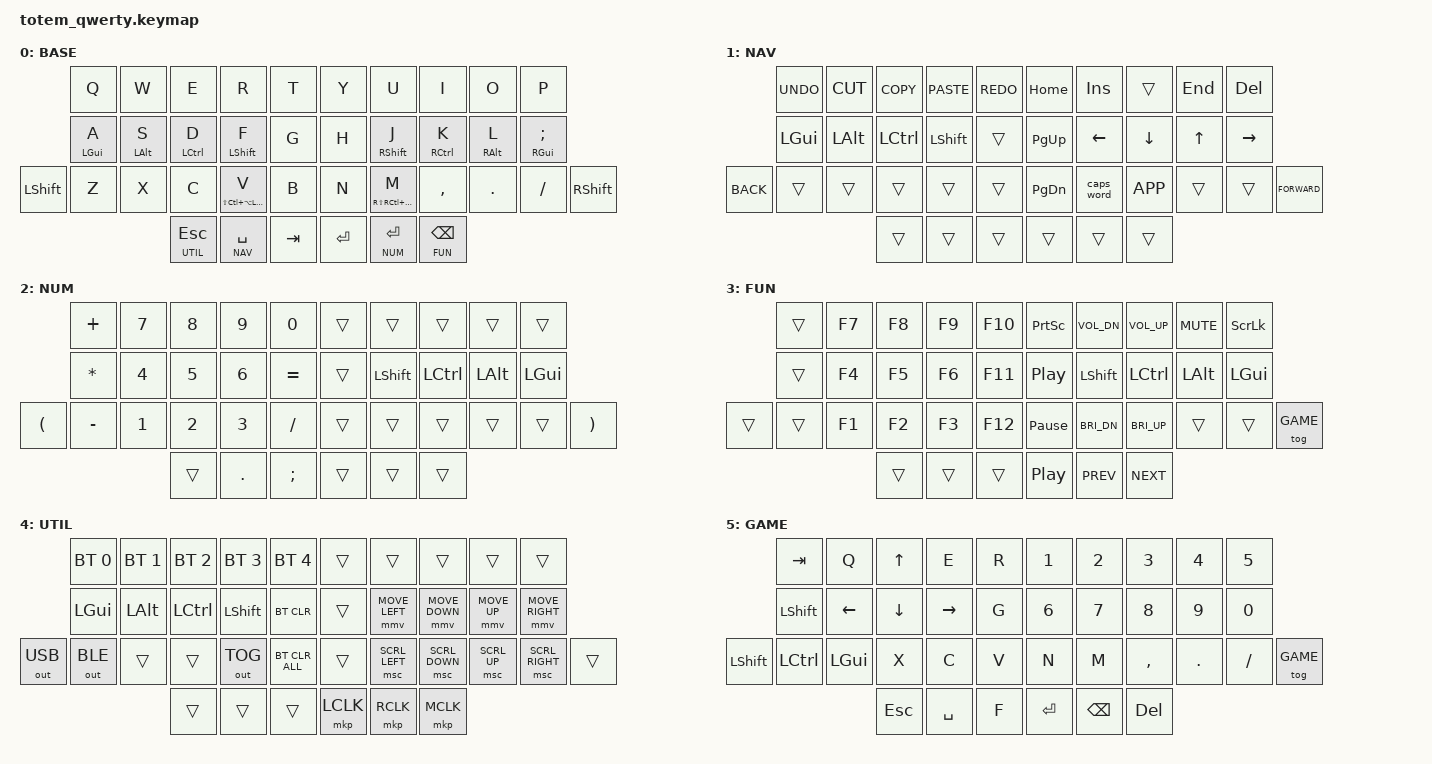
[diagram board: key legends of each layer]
// TOTEM Gallium layout — ported from RMK firmware (keymap.rs + behavior.rs)
// Home row mods (GACS), combos, mod-morphs, macro, mouse keys, caps word
// ── Mouse speed tuning ──────────────────────────────────────────────

#define MOUSE_TIME_TO_MAX_SPEED 800
#define U_MOUSE_MOVE_MAX 3000
#define U_MOUSE_SCROLL_MAX 20

// Must precede pointing.h so the defaults are overridden

#define ZMK_POINTING_DEFAULT_MOVE_VAL U_MOUSE_MOVE_MAX
#define ZMK_POINTING_DEFAULT_SCRL_VAL U_MOUSE_SCROLL_MAX

#include <behaviors.dtsi>
#include <dt-bindings/zmk/bt.h>
#include <dt-bindings/zmk/keys.h>
#include <dt-bindings/zmk/outputs.h>
#include <dt-bindings/zmk/pointing.h>

#define BASE   0
#define NAV    1
#define NUM    2
#define FUN    3
#define UTIL   4
#define GAME   5

// Key position groups for reference:
//          0  1  2  3  4     5  6  7  8  9       <- top
//         10 11 12 13 14    15 16 17 18 19       <- home
//    20   21 22 23 24 25    26 27 28 29 30   31  <- bottom + side
//                   32 33 34    35 36 37          <- thumbs

#define KEYS_L 0 1 2 3 4 10 11 12 13 14 20 21 22 23 24 25
#define KEYS_R 5 6 7 8 9 15 16 17 18 19 26 27 28 29 30 31
#define THUMBS 32 33 34 35 36 37

// Mouse behavior tuning

&mmv { time-to-max-speed-ms = <MOUSE_TIME_TO_MAX_SPEED>; };

&msc { time-to-max-speed-ms = <MOUSE_TIME_TO_MAX_SPEED>; };

/ {
    behaviors {
        // ── Home Row Mods (left hand) ──
        // Positional: hold only triggers on right-hand keys + thumbs

        hml: home_row_mod_left {
            compatible = "zmk,behavior-hold-tap";
            #binding-cells = <2>;
            flavor = "balanced";
            tapping-term-ms = <280>;
            quick-tap-ms = <175>;
            require-prior-idle-ms = <150>;
            bindings = <&kp>, <&kp>;

            hold-trigger-key-positions = <KEYS_R THUMBS>;
            hold-trigger-on-release;
        };

        // ── Home Row Mods (right hand) ──
        // Positional: hold only triggers on left-hand keys + thumbs

        hmr: home_row_mod_right {
            compatible = "zmk,behavior-hold-tap";
            #binding-cells = <2>;
            flavor = "balanced";
            tapping-term-ms = <280>;
            quick-tap-ms = <175>;
            require-prior-idle-ms = <150>;
            bindings = <&kp>, <&kp>;

            hold-trigger-key-positions = <KEYS_L THUMBS>;
            hold-trigger-on-release;
        };

        // ── Thumb Layer-Tap ──
        // Fast activation: hold-preferred, 200ms (RMK HoldOnOtherPress)

        lt_th: layer_tap_thumb {
            compatible = "zmk,behavior-hold-tap";
            #binding-cells = <2>;
            flavor = "balanced";
            tapping-term-ms = <200>;
            quick-tap-ms = <200>;
            bindings = <&mo>, <&kp>;
        };

    };

    // ══════════════════════════════════════════════════════════════
    // Combos — 34 total
    // ══════════════════════════════════════════════════════════════

    combos {
        compatible = "zmk,combos";

        // ── Vertical combos (top + home row) ─────────────────────
        // Less prone to misfires: 80ms timeout, 150ms prior-idle

        combo_play_pause {
            timeout-ms = <80>;
            key-positions = <0 10>;
            bindings = <&kp C_PLAY_PAUSE>;
            require-prior-idle-ms = <150>;
            layers = <BASE>;
        };

        combo_at {
            timeout-ms = <80>;
            key-positions = <1 11>;
            bindings = <&kp AT>;
            require-prior-idle-ms = <150>;
            layers = <BASE>;
        };

        combo_hash {
            timeout-ms = <80>;
            key-positions = <2 12>;
            bindings = <&kp HASH>;
            require-prior-idle-ms = <150>;
            layers = <BASE>;
        };

        combo_dllr {
            timeout-ms = <80>;
            key-positions = <3 13>;
            bindings = <&kp DLLR>;
            require-prior-idle-ms = <150>;
            layers = <BASE>;
        };

        combo_prcnt {
            timeout-ms = <80>;
            key-positions = <4 14>;
            bindings = <&kp PRCNT>;
            require-prior-idle-ms = <150>;
            layers = <BASE>;
        };

        combo_caret {
            timeout-ms = <80>;
            key-positions = <5 15>;
            bindings = <&kp CARET>;
            require-prior-idle-ms = <150>;
            layers = <BASE>;
        };

        combo_plus {
            timeout-ms = <80>;
            key-positions = <6 16>;
            bindings = <&kp PLUS>;
            require-prior-idle-ms = <150>;
            layers = <BASE>;
        };

        combo_star {
            timeout-ms = <80>;
            key-positions = <7 17>;
            bindings = <&kp STAR>;
            require-prior-idle-ms = <150>;
            layers = <BASE>;
        };

        combo_amps {
            timeout-ms = <80>;
            key-positions = <8 18>;
            bindings = <&kp AMPS>;
            require-prior-idle-ms = <150>;
            layers = <BASE>;
        };

        combo_vol_up {
            timeout-ms = <80>;
            key-positions = <9 19>;
            bindings = <&kp C_VOL_UP>;
            require-prior-idle-ms = <150>;
            layers = <BASE>;
        };

        // ── Vertical combos (home + bottom row) ──────────────────

        combo_mute {
            timeout-ms = <80>;
            key-positions = <10 21>;
            bindings = <&kp K_MUTE>;
            require-prior-idle-ms = <150>;
            layers = <BASE>;
        };

        combo_grave {
            timeout-ms = <80>;
            key-positions = <11 22>;
            bindings = <&kp GRAVE>;
            require-prior-idle-ms = <150>;
            layers = <BASE>;
        };

        combo_bslh {
            timeout-ms = <80>;
            key-positions = <12 23>;
            bindings = <&kp BSLH>;
            require-prior-idle-ms = <150>;
            layers = <BASE>;
        };

        combo_equal {
            timeout-ms = <80>;
            key-positions = <13 24>;
            bindings = <&kp EQUAL>;
            require-prior-idle-ms = <150>;
            layers = <BASE>;
        };

        combo_tilde {
            timeout-ms = <80>;
            key-positions = <14 25>;
            bindings = <&kp TILDE>;
            require-prior-idle-ms = <150>;
            layers = <BASE>;
        };

        combo_under {
            timeout-ms = <80>;
            key-positions = <15 26>;
            bindings = <&kp UNDER>;
            require-prior-idle-ms = <150>;
            layers = <BASE>;
        };

        combo_minus {
            timeout-ms = <80>;
            key-positions = <16 27>;
            bindings = <&kp MINUS>;
            require-prior-idle-ms = <150>;
            layers = <BASE>;
        };

        combo_fslh {
            timeout-ms = <80>;
            key-positions = <17 28>;
            bindings = <&kp FSLH>;
            require-prior-idle-ms = <150>;
            layers = <BASE>;
        };

        combo_pipe {
            timeout-ms = <80>;
            key-positions = <18 29>;
            bindings = <&kp PIPE>;
            require-prior-idle-ms = <150>;
            layers = <BASE>;
        };

        combo_vol_dn {
            timeout-ms = <80>;
            key-positions = <19 30>;
            bindings = <&kp C_VOL_DN>;
            require-prior-idle-ms = <150>;
            layers = <BASE>;
        };

        // ── Horizontal combos (same row, adjacent) ───────────────
        // Tight timing to prevent misfires during fast typing:
        // 40ms timeout + 280ms prior-idle
        // Top row

        combo_lbkt {
            timeout-ms = <40>;
            key-positions = <6 7>;
            bindings = <&kp LBKT>;
            require-prior-idle-ms = <280>;
            layers = <BASE>;
        };

        combo_rbkt {
            timeout-ms = <40>;
            key-positions = <7 8>;
            bindings = <&kp RBKT>;
            require-prior-idle-ms = <280>;
            layers = <BASE>;
        };

        // Home row

        combo_lt {
            timeout-ms = <40>;
            key-positions = <15 16>;
            bindings = <&kp LT>;
            require-prior-idle-ms = <280>;
            layers = <BASE>;
        };

        combo_lpar {
            timeout-ms = <40>;
            key-positions = <16 17>;
            bindings = <&kp LPAR>;
            require-prior-idle-ms = <280>;
            layers = <BASE>;
        };

        combo_rpar {
            timeout-ms = <40>;
            key-positions = <17 18>;
            bindings = <&kp RPAR>;
            require-prior-idle-ms = <280>;
            layers = <BASE>;
        };

        combo_gt {
            timeout-ms = <40>;
            key-positions = <18 19>;
            bindings = <&kp GT>;
            require-prior-idle-ms = <280>;
            layers = <BASE>;
        };

        // Bottom row

        combo_copy {
            timeout-ms = <40>;
            key-positions = <22 23>;
            bindings = <&kp LC(C)>;
            require-prior-idle-ms = <280>;
            layers = <BASE>;
        };

        combo_paste {
            timeout-ms = <40>;
            key-positions = <23 24>;
            bindings = <&kp LC(V)>;
            require-prior-idle-ms = <280>;
            layers = <BASE>;
        };

        combo_cut {
            timeout-ms = <40>;
            key-positions = <22 24>;
            bindings = <&kp LC(X)>;
            require-prior-idle-ms = <280>;
            layers = <BASE>;
        };

        combo_lbrc {
            timeout-ms = <40>;
            key-positions = <27 28>;
            bindings = <&kp LBRC>;
            require-prior-idle-ms = <280>;
            layers = <BASE>;
        };

        combo_rbrc {
            timeout-ms = <40>;
            key-positions = <28 29>;
            bindings = <&kp RBRC>;
            require-prior-idle-ms = <280>;
            layers = <BASE>;
        };

        // ── Multi-key / special combos ───────────────────────────

        combo_tab {
            timeout-ms = <50>;
            key-positions = <11 12 13>;
            bindings = <&kp TAB>;
            require-prior-idle-ms = <200>;
            layers = <BASE>;
        };

        combo_caps_word {
            timeout-ms = <80>;
            key-positions = <13 16>;
            bindings = <&caps_word>;
            require-prior-idle-ms = <150>;
            layers = <BASE>;
        };

        combo_studio_unlock {
            timeout-ms = <80>;
            key-positions = <32 37>;
            bindings = <&studio_unlock>;
            require-prior-idle-ms = <150>;
        };

        combo_lshift {
            bindings = <&kp LEFT_SHIFT>;
            key-positions = <32 33>;
        };

        combo_rshift {
            bindings = <&kp RIGHT_SHIFT>;
            key-positions = <36 37>;
        };
    };

    // ══════════════════════════════════════════════════════════════
    // Keymap — 6 layers
    // ══════════════════════════════════════════════════════════════

    keymap {
        compatible = "zmk,keymap";

        base_layer {
            display-name = "BASE";
            bindings = <
       &kp Q        &kp W        &kp E            &kp R                    &kp T    &kp Y  &kp U                    &kp I                 &kp O        &kp P
       &hml LGUI A  &hml LALT S  &hml LCTRL D     &hml LSHFT F             &kp G    &kp H  &hmr RSHFT J             &hmr RCTRL K          &hmr RALT L  &hmr RGUI SEMI
&kp LSHFT  &kp Z        &kp X        &kp C            &hml LS(LC(LA(LGUI))) V  &kp B    &kp N  &hmr RS(RC(RA(RGUI))) M  &kp COMMA             &kp DOT      &kp FSLH     &kp RSHFT
                                     &lt_th UTIL ESC  &lt_th NAV SPACE         &kp TAB    &kp RET  &lt_th NUM RET          &lt_th FUN BSPC
            >;
        };

        nav_layer {
            display-name = "NAV";
            bindings = <
            &kp K_UNDO  &kp K_CUT  &kp K_COPY  &kp K_PASTE  &kp K_REDO    &kp HOME   &kp INS     &trans     &kp END  &kp DEL
            &kp LGUI    &kp LALT   &kp LCTRL   &kp LSHFT    &trans        &kp PG_UP  &kp LEFT    &kp DOWN   &kp UP   &kp RIGHT
&kp K_BACK  &trans      &trans     &trans      &trans       &trans        &kp PG_DN  &caps_word  &kp K_APP  &trans   &trans     &kp K_FORWARD
                              &trans      &trans       &trans        &trans         &trans      &trans
            >;
        };

        num_layer {
            display-name = "NUM";
            bindings = <
          &kp PLUS   &kp N7  &kp N8  &kp N9   &kp N0       &trans  &trans     &trans     &trans    &trans
          &kp STAR   &kp N4  &kp N5  &kp N6   &kp EQUAL    &trans  &kp LSHFT  &kp LCTRL  &kp LALT  &kp LGUI
&kp LPAR  &kp MINUS  &kp N1  &kp N2  &kp N3   &kp FSLH     &trans  &trans     &trans     &trans    &trans    &kp RPAR
                             &trans  &kp DOT  &kp SEMI     &trans  &trans     &trans
            >;
        };

        fun_layer {
            display-name = "FUN";
            bindings = <
        &trans  &kp F7  &kp F8  &kp F9  &kp F10    &kp PSCRN        &kp C_VOL_DN  &kp C_VOL_UP  &kp C_MUTE  &kp SLCK
        &trans  &kp F4  &kp F5  &kp F6  &kp F11    &kp C_PP         &kp LSHFT     &kp LCTRL     &kp LALT    &kp LGUI
&trans  &trans  &kp F1  &kp F2  &kp F3  &kp F12    &kp PAUSE_BREAK  &kp C_BRI_DN  &kp C_BRI_UP  &trans      &trans    &tog GAME
                        &trans  &trans  &trans     &kp C_PP         &kp C_PREV    &kp C_NEXT
            >;
        };

        util_layer {
            display-name = "UTIL";
            bindings = <
        &bt BT_SEL 0  &bt BT_SEL 1  &bt BT_SEL 2  &bt BT_SEL 3  &bt BT_SEL 4      &trans     &trans          &trans          &trans        &trans
        &kp LGUI      &kp LALT      &kp LCTRL     &kp LSHFT     &bt BT_CLR        &trans     &mmv MOVE_LEFT  &mmv MOVE_DOWN  &mmv MOVE_UP  &mmv MOVE_RIGHT
&out OUT_USB  &out OUT_BLE  &trans  &trans        &out OUT_TOG  &bt BT_CLR_ALL    &trans     &msc SCRL_LEFT  &msc SCRL_DOWN  &msc SCRL_UP  &msc SCRL_RIGHT  &trans
                                    &trans        &trans        &trans            &mkp LCLK  &mkp RCLK       &mkp MCLK
            >;
        };

        game_layer {
            display-name = "GAME";
            bindings = <
        &kp TAB         &kp Q         &kp UP_ARROW  &kp E            &kp R     &kp N1  &kp N2     &kp N3         &kp N4   &kp N5
        &kp LEFT_SHIFT  &kp LEFT      &kp DOWN      &kp RIGHT_ARROW  &kp G     &kp N6  &kp N7     &kp N8         &kp N9   &kp N0
&kp LSHIFT  &kp LCTRL       &kp LEFT_GUI  &kp X         &kp C            &kp V    &kp N    &kp M     &kp COMMA  &kp DOT  &kp FSLH  &tog GAME
                                          &kp ESC       &kp SPACE        &kp F    &kp RET  &kp BSPC  &kp DEL
            >;
        };
    };
};
